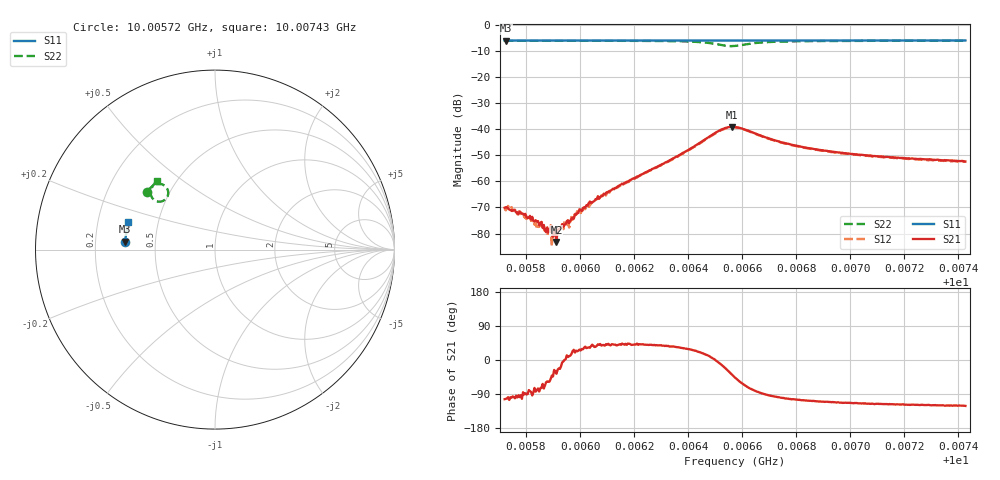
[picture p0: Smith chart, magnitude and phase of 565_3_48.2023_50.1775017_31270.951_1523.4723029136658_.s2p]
#  HZ  S  RI  R  50.00
! Rohde & Schwarz Vector Network Analyzer
! Rohde-Schwarz,ZNB20-2Port,1311601062101988,3.16
! Created: UTC 3/20/2024, 12:01:22 PM
! freq[Hz]  re:S11  im:S11  re:S21  im:S21  re:S12  im:S12  re:S22  im:S22
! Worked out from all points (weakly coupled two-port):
!   401 points, 10.00572 GHz to 10.00743 GHz, reference 50 ohm
!   highest |S21| = -39.08 dB at 10.00656 GHz (marker M1); lowest = -83.2 dB at 10.00591 GHz (marker M2)
!   lowest |S11| = -6.0 dB at 10.00573 GHz (marker M3), VSWR 3.01, Z = 16.6 + j1.93 ohm
!   |S11| at or under -10 dB: nowhere
!   |S22| runs from -8.1 to -6.0 dB; largest |S21 - S12| = 0.0007
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1.0005721e10  -0.5 0.0431  -7.25e-05 -0.000304  -5.13e-05 -0.000293  -0.3814 0.3193
1.0005725e10  -0.4999 0.0434  -6.98e-05 -0.000312  -3.55e-07 -0.000279  -0.3811 0.3195
1.0005738e10  -0.4999 0.0442  -7.67e-05 -0.000278  -3.21e-05 -0.000293  -0.3805 0.3203
1.0005815e10  -0.4997 0.0493  3.03e-05 -0.000216  3.03e-07 -0.000201  -0.3768 0.325
1.000584e10  -0.4995 0.051  3.2e-05 -0.000167  3.79e-05 -0.000114  -0.3755 0.3265
1.0005857e10  -0.4994 0.0519  4.8e-05 -0.00016  6.77e-05 -0.00015  -0.3746 0.3276
1.0005879e10  -0.4994 0.0534  7.23e-05 -0.00011  4.59e-05 -7.79e-05  -0.3734 0.3289
1.0005887e10  -0.4993 0.054  6.6e-05 -0.000101  8.39e-05 -6.7e-05  -0.3729 0.3295
1.0005913e10  -0.4992 0.0555  5.55e-05 -4.07e-05  8.69e-05 -4.89e-05  -0.3716 0.3311
1.0005938e10  -0.4991 0.0572  0.000134 -9.15e-06  0.000115 3.9e-05  -0.3701 0.3329
1.0005968e10  -0.4989 0.0592  0.000183 5.08e-05  0.000201 5.12e-05  -0.3683 0.3347
1.0005981e10  -0.4988 0.06  0.000215 7.63e-05  0.000211 0.000108  -0.3676 0.3356
1.0006007e10  -0.4986 0.0616  0.000238 0.000132  0.00021 0.000172  -0.366 0.3374
1.0006079e10  -0.4981 0.0665  0.000409 0.00032  0.000395 0.000366  -0.3611 0.3423
1.0006292e10  -0.4965 0.0803  0.00154 0.00123  0.00149 0.00131  -0.3393 0.3586
1.000651e10  -0.4936 0.0942  0.00905 -0.00075  0.00886 -0.000246  -0.2638 0.3337
1.0006561e10  -0.4929 0.0969  0.0088 -0.0068  0.00899 -0.00616  -0.2768 0.2795
1.0006574e10  -0.4929 0.0976  0.00761 -0.00799  0.00792 -0.00736  -0.2898 0.2712
1.0006663e10  -0.4927 0.103  0.000612 -0.00773  0.001 -0.00758  -0.3527 0.2931
1.0006859e10  -0.4906 0.1158  -0.00133 -0.00405  -0.00112 -0.00402  -0.3535 0.3417
1.0007145e10  -0.4866 0.134  -0.0013 -0.00262  -0.00116 -0.00261  -0.337 0.3678
1.0007426e10  -0.482 0.1515  -0.00124 -0.00206  -0.00115 -0.00212  -0.3217 0.3844
